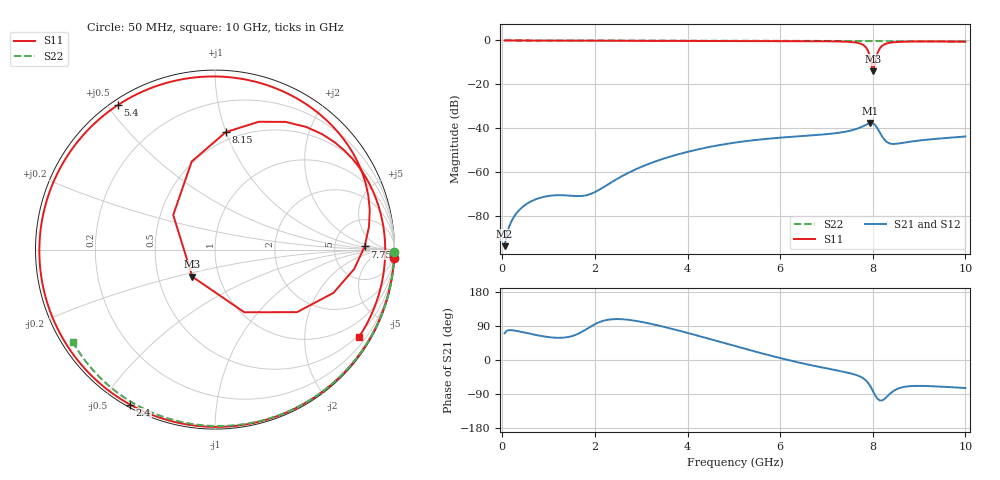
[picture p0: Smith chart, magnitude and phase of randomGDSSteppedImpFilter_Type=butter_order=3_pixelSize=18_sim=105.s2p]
! freq	dB(S11)	phase(S11)	dB(S12)	phase(S12)
!  dB(S21)	phase(S21)	dB(S22)	phase(S22)
!S-par simulation data
#  GHz  S  DB  R 50
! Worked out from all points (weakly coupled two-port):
!   200 points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, 50 MHz to 10 GHz, reference 50 ohm
!   highest |S21| = -37.69 dB at 7.95 GHz (marker M1); lowest = -93.9 dB at 50 MHz (marker M2)
!   lowest |S11| = -14.1 dB at 8 GHz (marker M3), VSWR 1.49, Z = 37.2 - j11.7 ohm
!   |S11| at or under -10 dB: 7.965 GHz to 8.054 GHz (89.7 MHz wide, 1.12 % of centre)
!   |S22| runs from -0.5 to 0.0 dB; largest |S21 - S12| = 0
!   S11 on the Smith chart (normalised r, x): 50 MHz: 0, -41; 2.4 GHz: 0.01, -0.59; 5.4 GHz: 0.02, +0.53; 7.75 GHz: 11, +1; 8.15 GHz: 0.43, +1.00; 10 GHz: 0.43, -3.53
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0.05  -0.00 -2.8  -93.89 70.6  -93.89 70.6  -0.01 -0.9
0.25  -0.03 -13.6  -80.53 78.0  -80.53 78.0  -0.01 -4.3
0.55  -0.04 -29.7  -74.29 70.6  -74.29 70.6  -0.01 -9.4
0.95  -0.06 -50.6  -71.14 61.3  -71.14 61.3  -0.02 -16.1
1.75  -0.11 -89.8  -70.90 76.5  -70.90 76.5  -0.04 -29.4
2.4  -0.13 -118.8  -64.19 107.8  -64.19 107.8  -0.05 -40.1
3.4  -0.17 -159.5  -54.53 90.1  -54.53 90.1  -0.07 -55.9
4.2  -0.20 169.8  -49.84 64.9  -49.84 64.9  -0.10 -68.1
5.05  -0.24 137.4  -46.55 36.1  -46.55 36.1  -0.12 -80.6
5.4  -0.26 123.9  -45.59 24.3  -45.59 24.3  -0.14 -85.6
6.05  -0.30 98.1  -44.29 3.6  -44.29 3.6  -0.17 -94.8
6.7  -0.35 70.7  -43.29 -14.6  -43.29 -14.6  -0.20 -103.7
7.35  -0.52 38.1  -41.87 -30.6  -41.87 -30.6  -0.24 -112.3
7.75  -1.58 1.2  -39.55 -45.1  -39.55 -45.1  -0.27 -117.6
7.85  -3.07 -20.1  -38.53 -53.7  -38.53 -53.7  -0.28 -118.9
7.95  -8.28 -65.0  -37.69 -69.6  -37.69 -69.6  -0.29 -120.2
8  -14.12 -129.8  -37.79 -80.9  -37.79 -80.9  -0.29 -120.9
8.05  -10.40 140.4  -38.59 -92.8  -38.59 -92.8  -0.30 -121.5
8.15  -3.65 84.8  -41.94 -106.7  -41.94 -106.7  -0.30 -122.8
8.35  -1.13 47.1  -46.89 -91.6  -46.89 -91.6  -0.32 -125.5
8.95  -0.48 7.7  -45.80 -68.3  -45.80 -68.3  -0.38 -133.2
10  -0.55 -31.2  -43.83 -73.9  -43.83 -73.9  -0.49 -146.9
